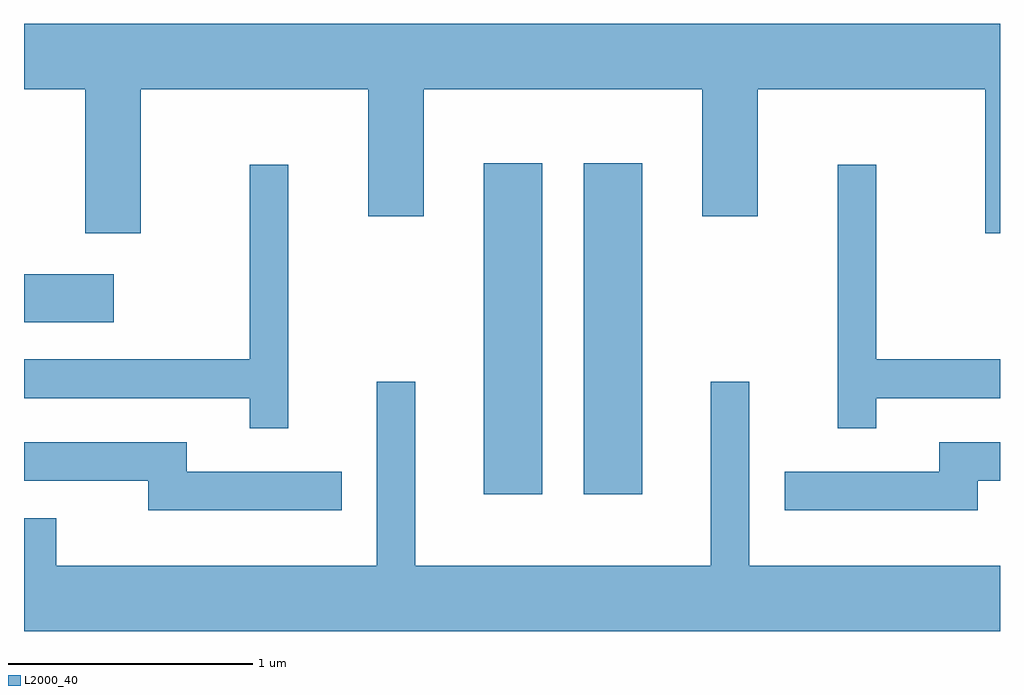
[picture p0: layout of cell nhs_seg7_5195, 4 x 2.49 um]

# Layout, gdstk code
import gdstk
lib = gdstk.Library(unit=1e-6, precision=1e-09)
def R(c, l, rs):  # rectangles x0, y0, x1, y1
    for r in rs: c.add(gdstk.rectangle(r[:2], r[2:], *l))
def P(c, l, *ps):  # polygons
    for p in ps: c.add(gdstk.Polygon(p, *l))
L2000_40 = (2000, 40)

nhs_seg7_5195 = lib.new_cell('nhs_seg7_5195')
R(nhs_seg7_5195, L2000_40, [(345.496,1759.276,345.734,1760.634), (345.906,1759.276,346.144,1760.634), (343.611,1759.981,343.979,1760.179)])
P(nhs_seg7_5195, L2000_40, [(344.089,1760.936),(345.021,1760.936),(345.021,1760.416),(345.249,1760.416),(345.249,1760.936),(346.391,1760.936),(346.391,1760.416),(346.619,1760.416),(346.619,1760.936),(347.551,1760.936),(347.551,1760.346),(347.611,1760.346),(347.611,1761.204),(343.611,1761.204),(343.611,1760.936),(343.861,1760.936),(343.861,1760.346),(344.089,1760.346)],
  [(347.104,1759.671),(347.611,1759.671),(347.611,1759.829),(347.104,1759.829),(347.104,1760.628),(346.946,1760.628),(346.946,1759.548),(347.104,1759.548)],
  [(344.694,1760.628),(344.536,1760.628),(344.536,1759.829),(343.611,1759.829),(343.611,1759.671),(344.536,1759.671),(344.536,1759.548),(344.694,1759.548)],
  [(347.611,1758.984),(346.584,1758.984),(346.584,1759.738),(346.426,1759.738),(346.426,1758.984),(345.214,1758.984),(345.214,1759.738),(345.056,1759.738),(345.056,1758.984),(343.744,1758.984),(343.744,1759.179),(343.611,1759.179),(343.611,1758.716),(347.611,1758.716)],
  [(347.519,1759.331),(347.611,1759.331),(347.611,1759.489),(347.361,1759.489),(347.361,1759.369),(346.728,1759.369),(346.728,1759.211),(347.519,1759.211)],
  [(344.913,1759.369),(344.279,1759.369),(344.279,1759.489),(343.611,1759.489),(343.611,1759.331),(344.121,1759.331),(344.121,1759.211),(344.913,1759.211)])

lib.write_gds('nhs_seg7_5195.gds')
